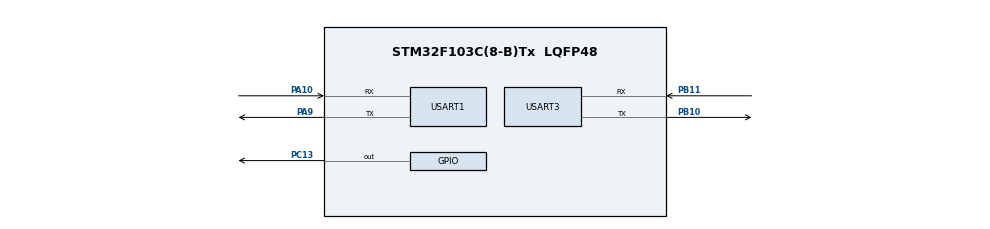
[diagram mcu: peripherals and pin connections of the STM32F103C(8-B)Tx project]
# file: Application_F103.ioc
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Mcu.Family=STM32F1
Mcu.Name=STM32F103C(8-B)Tx
Mcu.Package=LQFP48
NVIC.PriorityGroup=NVIC_PRIORITYGROUP_4
PA10.Mode=Asynchronous
PA10.Signal=USART1_RX
PA9.Mode=Asynchronous
PA9.Signal=USART1_TX
PB10.Mode=Asynchronous
PB10.Signal=USART3_TX
PB11.Mode=Asynchronous
PB11.Signal=USART3_RX
PC13-TAMPER-RTC.Signal=GPIO_Output
ProjectManager.HeapSize=0x200
ProjectManager.StackSize=0x400
ProjectManager.TargetToolchain=STM32CubeIDE
RCC.APB1Freq_Value=8000000
RCC.APB2Freq_Value=8000000
USART1.VirtualMode=VM_ASYNC
USART3.VirtualMode=VM_ASYNC
board=custom

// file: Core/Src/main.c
/* USER CODE BEGIN Header */
/**
  ******************************************************************************
  * @file           : main.c
  * @brief          : Main program body
  ******************************************************************************
  * @attention
  *
  * Copyright (c) 2023 STMicroelectronics.
  * All rights reserved.
  *
  * This software is licensed under terms that can be found in the LICENSE file
  * in the root directory of this software component.
  * If no LICENSE file comes with this software, it is provided AS-IS.
  *
  ******************************************************************************
  */
/* USER CODE END Header */
#include "main.h"

/* USER CODE BEGIN Includes */
#include <stdio.h>
#include <string.h>
/* USER CODE END Includes */

/* USER CODE BEGIN PM */
#define MAJOR 1
#define MINOR 4
#define DELAY_TIME_VAL 300
/* USER CODE END PM */

UART_HandleTypeDef huart1;
UART_HandleTypeDef huart3;

/* USER CODE BEGIN PV */
uint8_t APP_Version[2] = {MAJOR, MINOR};
/* USER CODE END PV */

void SystemClock_Config(void);
static void MX_GPIO_Init(void);
static void MX_USART1_UART_Init(void);
static void MX_USART3_UART_Init(void);

int main(void)
{

  /* MCU Configuration--------------------------------------------------------*/

  /* Reset of all peripherals, Initializes the Flash interface and the Systick. */
  HAL_Init();

  /* Configure the system clock */
  SystemClock_Config();

  /* Initialize all configured peripherals */
  MX_GPIO_Init();
  MX_USART1_UART_Init();
  MX_USART3_UART_Init();
  /* USER CODE BEGIN 2 */
  printf("Application v%d:%d Started!!!\n", APP_Version[0], APP_Version[1]);
  /* USER CODE END 2 */

  /* Infinite loop */
  /* USER CODE BEGIN WHILE */
  while (1)
  {

//	  HAL_GPIO_TogglePin(GPIOC, GPIO_PIN_13);
	  HAL_GPIO_WritePin(GPIOC, GPIO_PIN_13, GPIO_PIN_SET);
	  HAL_Delay(DELAY_TIME_VAL);
	  HAL_GPIO_WritePin(GPIOC, GPIO_PIN_13, GPIO_PIN_RESET);
	  HAL_Delay(DELAY_TIME_VAL);

    /* USER CODE END WHILE */

  }
}

void SystemClock_Config(void)
{
  RCC_OscInitTypeDef RCC_OscInitStruct = {0};
  RCC_ClkInitTypeDef RCC_ClkInitStruct = {0};

  /** Initializes the RCC Oscillators according to the specified parameters
  * in the RCC_OscInitTypeDef structure.
  */
  RCC_OscInitStruct.OscillatorType = RCC_OSCILLATORTYPE_HSI;
  RCC_OscInitStruct.HSIState = RCC_HSI_ON;
  RCC_OscInitStruct.HSICalibrationValue = RCC_HSICALIBRATION_DEFAULT;
  RCC_OscInitStruct.PLL.PLLState = RCC_PLL_NONE;
  if (HAL_RCC_OscConfig(&RCC_OscInitStruct) != HAL_OK)
  {
    Error_Handler();
  }

  /** Initializes the CPU, AHB and APB buses clocks
  */
  RCC_ClkInitStruct.ClockType = RCC_CLOCKTYPE_HCLK|RCC_CLOCKTYPE_SYSCLK
                              |RCC_CLOCKTYPE_PCLK1|RCC_CLOCKTYPE_PCLK2;
  RCC_ClkInitStruct.SYSCLKSource = RCC_SYSCLKSOURCE_HSI;
  RCC_ClkInitStruct.AHBCLKDivider = RCC_SYSCLK_DIV1;
  RCC_ClkInitStruct.APB1CLKDivider = RCC_HCLK_DIV1;
  RCC_ClkInitStruct.APB2CLKDivider = RCC_HCLK_DIV1;

  if (HAL_RCC_ClockConfig(&RCC_ClkInitStruct, FLASH_LATENCY_0) != HAL_OK)
  {
    Error_Handler();
  }
}

static void MX_USART1_UART_Init(void)
{

  huart1.Instance = USART1;
  huart1.Init.BaudRate = 115200;
  huart1.Init.WordLength = UART_WORDLENGTH_8B;
  huart1.Init.StopBits = UART_STOPBITS_1;
  huart1.Init.Parity = UART_PARITY_NONE;
  huart1.Init.Mode = UART_MODE_TX_RX;
  huart1.Init.HwFlowCtl = UART_HWCONTROL_NONE;
  huart1.Init.OverSampling = UART_OVERSAMPLING_16;
  if (HAL_UART_Init(&huart1) != HAL_OK)
  {
    Error_Handler();
  }

}

static void MX_USART3_UART_Init(void)
{

  huart3.Instance = USART3;
  huart3.Init.BaudRate = 115200;
  huart3.Init.WordLength = UART_WORDLENGTH_8B;
  huart3.Init.StopBits = UART_STOPBITS_1;
  huart3.Init.Parity = UART_PARITY_NONE;
  huart3.Init.Mode = UART_MODE_TX_RX;
  huart3.Init.HwFlowCtl = UART_HWCONTROL_NONE;
  huart3.Init.OverSampling = UART_OVERSAMPLING_16;
  if (HAL_UART_Init(&huart3) != HAL_OK)
  {
    Error_Handler();
  }

}

static void MX_GPIO_Init(void)
{
  GPIO_InitTypeDef GPIO_InitStruct = {0};

  /* GPIO Ports Clock Enable */
  __HAL_RCC_GPIOC_CLK_ENABLE();
  __HAL_RCC_GPIOB_CLK_ENABLE();
  __HAL_RCC_GPIOA_CLK_ENABLE();

  /*Configure GPIO pin Output Level */
  HAL_GPIO_WritePin(GPIOC, GPIO_PIN_13, GPIO_PIN_RESET);

  /*Configure GPIO pin : PC13 */
  GPIO_InitStruct.Pin = GPIO_PIN_13;
  GPIO_InitStruct.Mode = GPIO_MODE_OUTPUT_PP;
  GPIO_InitStruct.Pull = GPIO_NOPULL;
  GPIO_InitStruct.Speed = GPIO_SPEED_FREQ_LOW;
  HAL_GPIO_Init(GPIOC, &GPIO_InitStruct);

}

/* USER CODE BEGIN 4 */
#ifdef __GNUC__
  /* With GCC, small printf (option LD Linker->Libraries->Small printf
     set to 'Yes') calls __io_putchar() */
int __io_putchar(int ch)
#else
int fputc(int ch, FILE *f)
#endif /* __GNUC__ */
{
  /* Place your implementation of fputc here */
  /* e.g. write a character to the UART3 and Loop until the end of transmission */
  HAL_UART_Transmit(&huart1, (uint8_t *)&ch, 1, HAL_MAX_DELAY);

  return ch;
}
/* USER CODE END 4 */

void Error_Handler(void)
{
  __disable_irq();
  while (1)
  {
  }
}
